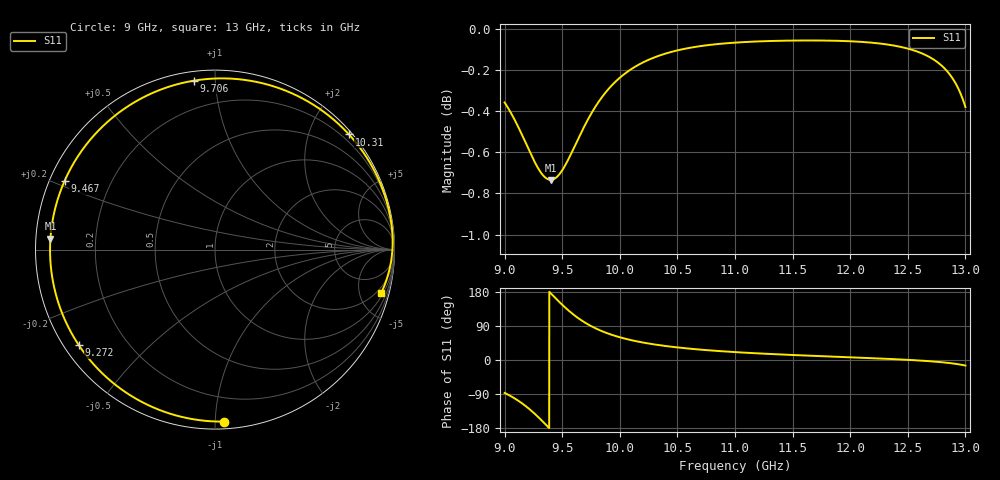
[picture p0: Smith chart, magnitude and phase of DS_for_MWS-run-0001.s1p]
! TOUCHSTONE file generated by CST DESIGN STUDIO
! Date and time: Tue Feb  4 13:46:29 2025
! Project name: C:\Work\MatlabApps\UnitCellOptimizationMatlab\CST\unitcell.cst
! Tree item: Tasks\Sweep1\SPara1\S-Parameters
! Header version: 2024
! Port assignment regex: !\s*Touchstone port\s*([0-9]+)\s*=\s*(CST MWS port|CST DES external port|CST DES block port)\s*(.+)\s* \(\"(.*)\"\)(\s*mode\s*([0-9]+))?.*
! Touchstone port assignment:
! Touchstone port 1 = CST DES external port 1 ("")
# GHz S MA R 50
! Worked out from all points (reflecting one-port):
!   4001 points, 9 GHz to 13 GHz, reference 50 ohm
!   lowest |S11| = -0.7 dB at 9.4 GHz (marker M1), VSWR 23.67, Z = 2.11 + j1.64 ohm
!   phase of S11 starts at -87 deg and turns -288 deg over the sweep
!   S11 on the Smith chart (normalised r, x): 9 GHz: 0.04, -1.06; 9.272 GHz: 0.04, -0.32; 9.467 GHz: 0.04, +0.22; 9.706 GHz: 0.05, +0.88; 10.31 GHz: 0.07, +2.70; 13 GHz: 1.32, -7.58
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9  0.9596 -86.8
9.02  0.9577 -89.9
9.08  0.9512 -100.0
9.148  0.9428 -113.6
9.211  0.9344 -128.5
9.272  0.9269 -144.9
9.339  0.9209 -164.7
9.4  0.9189 176.2
9.433  0.9195 165.9
9.467  0.9212 155.5
9.5  0.9239 145.8
9.549  0.929 132.2
9.598  0.935 119.8
9.65  0.9417 108.2
9.706  0.9485 97.2
9.776  0.9561 85.6
9.846  0.9625 75.9
9.92  0.9681 67.5
10  0.973 60.0
10.141  0.9793 49.6
10.309  0.9843 40.7
10.5  0.988 33.2
11  0.9923 20.9
11.5  0.9934 13.2
12  0.993 7.1
12.5  0.989 0.4
12.792  0.9797 -5.8
13  0.9572 -14.6
